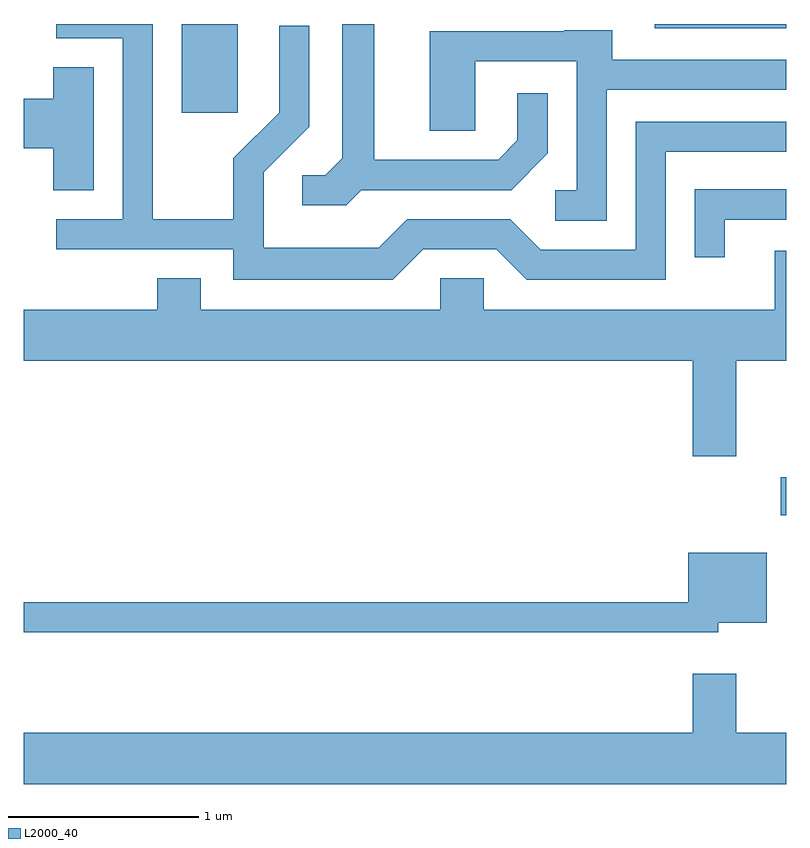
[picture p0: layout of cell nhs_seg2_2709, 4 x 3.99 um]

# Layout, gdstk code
import gdstk
lib = gdstk.Library(unit=1e-6, precision=1e-09)
def R(c, l, rs):  # rectangles x0, y0, x1, y1
    for r in rs: c.add(gdstk.rectangle(r[:2], r[2:], *l))
def P(c, l, *ps):  # polygons
    for p in ps: c.add(gdstk.Polygon(p, *l))
L2000_40 = (2000, 40)

nhs_seg2_2709 = lib.new_cell('nhs_seg2_2709')
R(nhs_seg2_2709, L2000_40, [(267.581,1105.226,267.611,1105.424), (264.441,1107.336,264.734,1107.802), (266.921,1107.781,267.611,1107.802)])
P(nhs_seg2_2709, L2000_40, [(265.382,1106.931),(266.167,1106.931),(266.359,1107.124),(266.359,1107.438),(266.201,1107.438),(266.201,1107.192),(266.099,1107.089),(265.449,1107.089),(265.449,1107.802),(265.281,1107.802),(265.281,1107.097),(265.194,1107.009),(265.073,1107.009),(265.073,1106.851),(265.302,1106.851)],
  [(265.707,1106.621),(266.089,1106.621),(266.249,1106.461),(266.979,1106.461),(266.979,1107.131),(267.611,1107.131),(267.611,1107.289),(266.821,1107.289),(266.821,1106.619),(266.322,1106.619),(266.162,1106.779),(265.624,1106.779),(265.474,1106.629),(264.869,1106.629),(264.869,1107.024),(265.109,1107.264),(265.109,1107.793),(264.951,1107.793),(264.951,1107.337),(264.711,1107.097),(264.711,1106.779),(264.289,1106.779),(264.289,1107.802),(263.783,1107.802),(263.783,1107.726),(264.131,1107.726),(264.131,1106.779),(263.783,1106.779),(263.783,1106.621),(264.711,1106.621),(264.711,1106.461),(265.547,1106.461)],
  [(266.669,1107.456),(267.611,1107.456),(267.611,1107.614),(266.699,1107.614),(266.699,1107.769),(266.445,1107.769),(266.445,1107.764),(265.741,1107.764),(265.741,1107.241),(265.979,1107.241),(265.979,1107.606),(266.511,1107.606),(266.511,1106.929),(266.398,1106.929),(266.398,1106.771),(266.669,1106.771)],
  [(263.979,1107.574),(263.766,1107.574),(263.766,1107.409),(263.611,1107.409),(263.611,1107.151),(263.766,1107.151),(263.766,1106.931),(263.979,1106.931)],
  [(267.289,1106.776),(267.611,1106.776),(267.611,1106.934),(267.131,1106.934),(267.131,1106.578),(267.289,1106.578)],
  [(267.349,1106.036),(267.611,1106.036),(267.611,1106.614),(267.551,1106.614),(267.551,1106.304),(266.024,1106.304),(266.024,1106.469),(265.796,1106.469),(265.796,1106.304),(264.539,1106.304),(264.539,1106.469),(264.311,1106.469),(264.311,1106.304),(263.611,1106.304),(263.611,1106.036),(267.121,1106.036),(267.121,1105.536),(267.349,1105.536)],
  [(267.254,1104.661),(267.509,1104.661),(267.509,1105.029),(267.096,1105.029),(267.096,1104.769),(263.611,1104.769),(263.611,1104.611),(267.254,1104.611)],
  [(267.611,1104.084),(267.349,1104.084),(267.349,1104.394),(267.121,1104.394),(267.121,1104.084),(263.611,1104.084),(263.611,1103.816),(267.611,1103.816)])

lib.write_gds('nhs_seg2_2709.gds')
